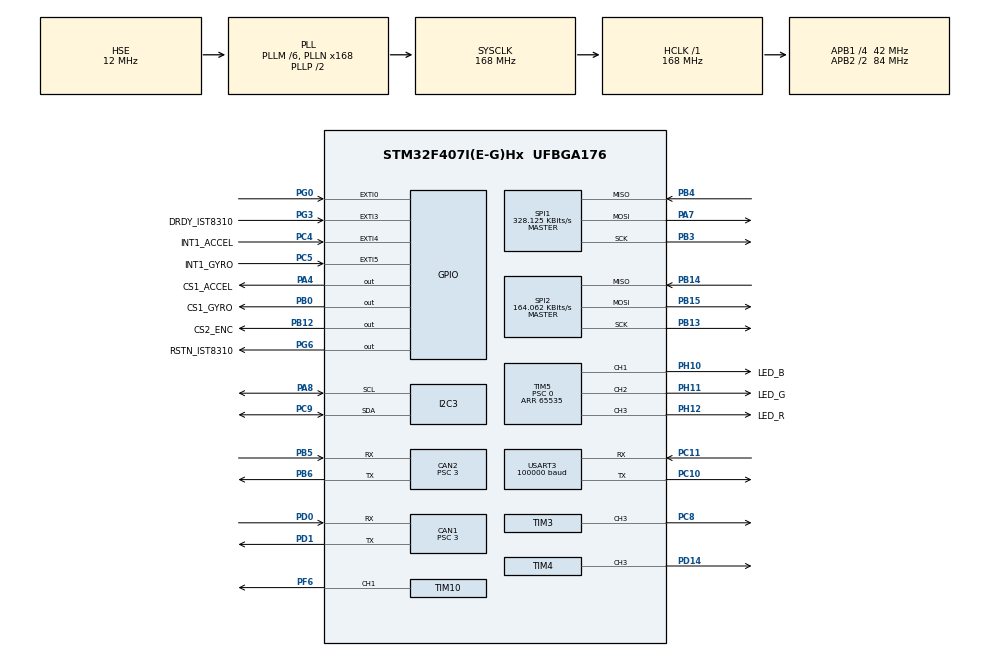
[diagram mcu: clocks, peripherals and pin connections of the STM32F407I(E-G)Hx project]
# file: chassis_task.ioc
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CAN1.BS1=CAN_BS1_10TQ
CAN1.BS2=CAN_BS2_3TQ
CAN1.CalculateBaudRate=1000000
CAN1.CalculateTimeQuantum=71.42857142857143
CAN1.Prescaler=3
CAN2.BS1=CAN_BS1_10TQ
CAN2.BS2=CAN_BS2_3TQ
CAN2.CalculateBaudRate=1000000
CAN2.CalculateTimeQuantum=71.42857142857143
CAN2.Prescaler=3
Dma.Request0=SPI1_RX
Dma.Request1=SPI1_TX
Dma.Request2=USART3_RX
Dma.Request3=SPI2_RX
Dma.Request4=SPI2_TX
Dma.SPI1_RX.0.Direction=DMA_PERIPH_TO_MEMORY
Dma.SPI1_RX.0.FIFOMode=DMA_FIFOMODE_DISABLE
Dma.SPI1_RX.0.Instance=DMA2_Stream2
Dma.SPI1_RX.0.MemDataAlignment=DMA_MDATAALIGN_BYTE
Dma.SPI1_RX.0.MemInc=DMA_MINC_ENABLE
Dma.SPI1_RX.0.Mode=DMA_NORMAL
Dma.SPI1_RX.0.PeriphDataAlignment=DMA_PDATAALIGN_BYTE
Dma.SPI1_RX.0.PeriphInc=DMA_PINC_DISABLE
Dma.SPI1_RX.0.Priority=DMA_PRIORITY_VERY_HIGH
Dma.SPI1_TX.1.Direction=DMA_MEMORY_TO_PERIPH
Dma.SPI1_TX.1.FIFOMode=DMA_FIFOMODE_DISABLE
Dma.SPI1_TX.1.Instance=DMA2_Stream3
Dma.SPI1_TX.1.MemDataAlignment=DMA_MDATAALIGN_BYTE
Dma.SPI1_TX.1.MemInc=DMA_MINC_ENABLE
Dma.SPI1_TX.1.Mode=DMA_NORMAL
Dma.SPI1_TX.1.PeriphDataAlignment=DMA_PDATAALIGN_BYTE
Dma.SPI1_TX.1.PeriphInc=DMA_PINC_DISABLE
Dma.SPI1_TX.1.Priority=DMA_PRIORITY_HIGH
Dma.SPI2_RX.3.Direction=DMA_PERIPH_TO_MEMORY
Dma.SPI2_RX.3.FIFOMode=DMA_FIFOMODE_DISABLE
Dma.SPI2_RX.3.Instance=DMA1_Stream3
Dma.SPI2_RX.3.MemDataAlignment=DMA_MDATAALIGN_BYTE
Dma.SPI2_RX.3.MemInc=DMA_MINC_ENABLE
Dma.SPI2_RX.3.Mode=DMA_NORMAL
Dma.SPI2_RX.3.PeriphDataAlignment=DMA_PDATAALIGN_BYTE
Dma.SPI2_RX.3.PeriphInc=DMA_PINC_DISABLE
Dma.SPI2_RX.3.Priority=DMA_PRIORITY_VERY_HIGH
Dma.SPI2_TX.4.Direction=DMA_MEMORY_TO_PERIPH
Dma.SPI2_TX.4.FIFOMode=DMA_FIFOMODE_DISABLE
Dma.SPI2_TX.4.Instance=DMA1_Stream4
Dma.SPI2_TX.4.MemDataAlignment=DMA_MDATAALIGN_BYTE
Dma.SPI2_TX.4.MemInc=DMA_MINC_ENABLE
Dma.SPI2_TX.4.Mode=DMA_NORMAL
Dma.SPI2_TX.4.PeriphDataAlignment=DMA_PDATAALIGN_BYTE
Dma.SPI2_TX.4.PeriphInc=DMA_PINC_DISABLE
Dma.SPI2_TX.4.Priority=DMA_PRIORITY_HIGH
Dma.USART3_RX.2.Direction=DMA_PERIPH_TO_MEMORY
Dma.USART3_RX.2.FIFOMode=DMA_FIFOMODE_DISABLE
Dma.USART3_RX.2.Instance=DMA1_Stream1
Dma.USART3_RX.2.MemDataAlignment=DMA_MDATAALIGN_BYTE
Dma.USART3_RX.2.MemInc=DMA_MINC_ENABLE
Dma.USART3_RX.2.Mode=DMA_NORMAL
Dma.USART3_RX.2.PeriphDataAlignment=DMA_PDATAALIGN_BYTE
Dma.USART3_RX.2.PeriphInc=DMA_PINC_DISABLE
Dma.USART3_RX.2.Priority=DMA_PRIORITY_HIGH
FREERTOS.INCLUDE_eTaskGetState=1
FREERTOS.INCLUDE_pcTaskGetTaskName=1
FREERTOS.INCLUDE_uxTaskGetStackHighWaterMark=1
FREERTOS.INCLUDE_vTaskCleanUpResources=1
FREERTOS.INCLUDE_vTaskDelayUntil=1
FREERTOS.INCLUDE_xEventGroupSetBitFromISR=1
FREERTOS.INCLUDE_xQueueGetMutexHolder=1
FREERTOS.INCLUDE_xSemaphoreGetMutexHolder=1
FREERTOS.INCLUDE_xTaskAbortDelay=1
FREERTOS.INCLUDE_xTaskGetCurrentTaskHandle=1
FREERTOS.INCLUDE_xTaskGetHandle=1
FREERTOS.INCLUDE_xTimerPendFunctionCall=1
FREERTOS.Tasks01=test,24,128,test_task,As weak,NULL,Dynamic,NULL,NULL
FREERTOS.configTOTAL_HEAP_SIZE=24576
I2C3.I2C_Mode=I2C_Fast
Mcu.Family=STM32F4
Mcu.Name=STM32F407I(E-G)Hx
Mcu.Package=UFBGA176
NVIC.CAN1_RX0_IRQn=true\:6\:0\:true\:false\:true\:false\:true\:true\:true
NVIC.CAN2_RX0_IRQn=true\:6\:0\:true\:false\:true\:false\:true\:true\:true
NVIC.DMA1_Stream1_IRQn=true\:5\:0\:true\:false\:false\:false\:false\:false\:true
NVIC.DMA1_Stream3_IRQn=true\:5\:0\:false\:false\:true\:true\:false\:true\:true
NVIC.DMA1_Stream4_IRQn=true\:5\:0\:false\:false\:true\:true\:false\:true\:true
NVIC.DMA2_Stream2_IRQn=true\:5\:0\:true\:false\:false\:false\:false\:true\:true
NVIC.DMA2_Stream3_IRQn=true\:5\:0\:true\:false\:false\:false\:false\:true\:true
NVIC.EXTI0_IRQn=true\:6\:0\:true\:false\:true\:false\:true\:true\:true
NVIC.EXTI3_IRQn=true\:5\:0\:true\:false\:true\:false\:true\:true\:true
NVIC.EXTI4_IRQn=true\:5\:0\:true\:false\:true\:false\:true\:true\:true
NVIC.EXTI9_5_IRQn=true\:5\:0\:true\:false\:true\:false\:true\:true\:true
NVIC.PriorityGroup=NVIC_PRIORITYGROUP_4
NVIC.USART3_IRQn=true\:4\:0\:true\:false\:false\:false\:true\:true\:true
PA13.Mode=Serial_Wire
PA13.Signal=SYS_JTMS-SWDIO
PA14.Mode=Serial_Wire
PA14.Signal=SYS_JTCK-SWCLK
PA4.GPIO_Label=CS1_ACCEL
PA4.GPIO_PuPd=GPIO_PULLUP
PA4.GPIO_Speed=GPIO_SPEED_FREQ_HIGH
PA4.PinState=GPIO_PIN_SET
PA4.Signal=GPIO_Output
PA7.GPIO_PuPd=GPIO_PULLUP
PA7.Mode=Full_Duplex_Master
PA7.Signal=SPI1_MOSI
PA8.GPIO_Pu=GPIO_PULLUP
PA8.Mode=I2C
PA8.Signal=I2C3_SCL
PB0.GPIO_Label=CS1_GYRO
PB0.GPIO_PuPd=GPIO_PULLUP
PB0.GPIO_Speed=GPIO_SPEED_FREQ_HIGH
PB0.PinState=GPIO_PIN_SET
PB0.Signal=GPIO_Output
PB12.GPIO_Label=CS2_ENC
PB12.GPIO_ModeDefaultOutputPP=GPIO_MODE_OUTPUT_PP
PB12.GPIO_PuPd=GPIO_PULLUP
PB12.GPIO_Speed=GPIO_SPEED_FREQ_HIGH
PB12.PinState=GPIO_PIN_SET
PB12.Signal=GPIO_Output
PB13.Mode=Full_Duplex_Master
PB13.Signal=SPI2_SCK
PB14.Mode=Full_Duplex_Master
PB14.Signal=SPI2_MISO
PB15.Mode=Full_Duplex_Master
PB15.Signal=SPI2_MOSI
PB3.GPIO_PuPd=GPIO_PULLUP
PB3.Mode=Full_Duplex_Master
PB3.Signal=SPI1_SCK
PB4.GPIO_PuPd=GPIO_PULLUP
PB4.Mode=Full_Duplex_Master
PB4.Signal=SPI1_MISO
PB5.Mode=CAN_Activate
PB5.Signal=CAN2_RX
PB6.Mode=CAN_Activate
PB6.Signal=CAN2_TX
PC10.Mode=Asynchronous
PC10.Signal=USART3_TX
PC11.Mode=Asynchronous
PC11.Signal=USART3_RX
PC4.GPIO_Label=INT1_ACCEL
PC4.GPIO_ModeDefaultEXTI=GPIO_MODE_IT_FALLING
PC4.GPIO_PuPd=GPIO_PULLUP
PC4.Signal=GPXTI4
PC5.GPIO_Label=INT1_GYRO
PC5.GPIO_ModeDefaultEXTI=GPIO_MODE_IT_FALLING
PC5.GPIO_PuPd=GPIO_PULLUP
PC5.Signal=GPXTI5
PC8.GPIO_PuPd=GPIO_PULLUP
PC8.GPIO_Speed=GPIO_SPEED_FREQ_HIGH
PC8.Signal=S_TIM3_CH3
PC9.GPIO_Pu=GPIO_PULLUP
PC9.Mode=I2C
PC9.Signal=I2C3_SDA
PD0.Mode=CAN_Activate
PD0.Signal=CAN1_RX
PD1.Mode=CAN_Activate
PD1.Signal=CAN1_TX
PD14.GPIO_PuPd=GPIO_PULLUP
PD14.GPIO_Speed=GPIO_SPEED_FREQ_HIGH
PD14.Signal=S_TIM4_CH3
PF6.GPIO_PuPd=GPIO_PULLUP
PF6.GPIO_Speed=GPIO_SPEED_FREQ_HIGH
PF6.Signal=S_TIM10_CH1
PG0.GPIO_ModeDefaultEXTI=GPIO_MODE_IT_FALLING
PG0.GPIO_PuPd=GPIO_PULLUP
PG0.Signal=GPXTI0
PG3.GPIO_Label=DRDY_IST8310
PG3.GPIO_ModeDefaultEXTI=GPIO_MODE_IT_FALLING
PG3.GPIO_PuPd=GPIO_PULLUP
PG3.Signal=GPXTI3
PG6.GPIO_Label=RSTN_IST8310
PG6.GPIO_PuPd=GPIO_PULLUP
PG6.GPIO_Speed=GPIO_SPEED_FREQ_MEDIUM
PG6.PinState=GPIO_PIN_SET
PG6.Signal=GPIO_Output
PH0-OSC_IN.Mode=HSE-External-Oscillator
PH0-OSC_IN.Signal=RCC_OSC_IN
PH1-OSC_OUT.Mode=HSE-External-Oscillator
PH1-OSC_OUT.Signal=RCC_OSC_OUT
PH10.GPIO_Label=LED_B
PH10.GPIO_PuPd=GPIO_PULLUP
PH10.GPIO_Speed=GPIO_SPEED_FREQ_HIGH
PH10.Signal=S_TIM5_CH1
PH11.GPIO_Label=LED_G
PH11.GPIO_PuPd=GPIO_PULLUP
PH11.GPIO_Speed=GPIO_SPEED_FREQ_HIGH
PH11.Signal=S_TIM5_CH2
PH12.GPIO_Label=LED_R
PH12.GPIO_PuPd=GPIO_PULLUP
PH12.GPIO_Speed=GPIO_SPEED_FREQ_HIGH
PH12.Signal=S_TIM5_CH3
ProjectManager.HeapSize=0x2000
ProjectManager.StackSize=0x2000
ProjectManager.TargetToolchain=MDK-ARM V5.32
RCC.48MHZClocksFreq_Value=48000000
RCC.AHBFreq_Value=168000000
RCC.APB1CLKDivider=RCC_HCLK_DIV4
RCC.APB1Freq_Value=42000000
RCC.APB1TimFreq_Value=84000000
RCC.APB2CLKDivider=RCC_HCLK_DIV2
RCC.APB2Freq_Value=84000000
RCC.APB2TimFreq_Value=168000000
RCC.CortexFreq_Value=168000000
RCC.HCLKFreq_Value=168000000
RCC.HSE_VALUE=12000000
RCC.HSI_VALUE=16000000
RCC.LSE_VALUE=32768
RCC.PLLM=6
RCC.PLLN=168
RCC.PLLQ=7
RCC.PLLSourceVirtual=RCC_PLLSOURCE_HSE
RCC.RCC_RTC_Clock_SourceVirtual=RCC_RTCCLKSOURCE_HSE_DIV30
RCC.RCC_RTC_Clock_Source_FROM_HSE=RCC_RTCCLKSOURCE_HSE_DIV30
RCC.SYSCLKFreq_VALUE=168000000
RCC.SYSCLKSource=RCC_SYSCLKSOURCE_PLLCLK
RCC.VCOOutputFreq_Value=336000000
RTC.AsynchPrediv=124
RTC.SynchPrediv=3199
SH.S_TIM10_CH1.0=TIM10_CH1,PWM Generation1 CH1
SH.S_TIM3_CH3.0=TIM3_CH3,PWM Generation3 CH3
SH.S_TIM4_CH3.0=TIM4_CH3,PWM Generation3 CH3
SH.S_TIM5_CH1.0=TIM5_CH1,PWM Generation1 CH1
SH.S_TIM5_CH2.0=TIM5_CH2,PWM Generation2 CH2
SH.S_TIM5_CH3.0=TIM5_CH3,PWM Generation3 CH3
SPI1.BaudRatePrescaler=SPI_BAUDRATEPRESCALER_256
SPI1.CLKPhase=SPI_PHASE_2EDGE
SPI1.CLKPolarity=SPI_POLARITY_HIGH
SPI1.CalculateBaudRate=328.125 KBits/s
SPI1.Direction=SPI_DIRECTION_2LINES
SPI1.Mode=SPI_MODE_MASTER
SPI1.VirtualType=VM_MASTER
SPI2.BaudRatePrescaler=SPI_BAUDRATEPRESCALER_256
SPI2.CLKPhase=SPI_PHASE_2EDGE
SPI2.CLKPolarity=SPI_POLARITY_HIGH
SPI2.CalculateBaudRate=164.062 KBits/s
SPI2.Direction=SPI_DIRECTION_2LINES
SPI2.Mode=SPI_MODE_MASTER
SPI2.VirtualType=VM_MASTER
TIM10.Channel=TIM_CHANNEL_1
TIM10.Period=4999
TIM3.Channel-PWM\ Generation3\ CH3=TIM_CHANNEL_3
TIM3.Period=8399
TIM4.Channel-PWM\ Generation3\ CH3=TIM_CHANNEL_3
TIM4.Period=65535
TIM4.Prescaler=167
TIM5.Channel-PWM\ Generation1\ CH1=TIM_CHANNEL_1
TIM5.Channel-PWM\ Generation2\ CH2=TIM_CHANNEL_2
TIM5.Channel-PWM\ Generation3\ CH3=TIM_CHANNEL_3
TIM5.Period=65535
TIM5.Prescaler=0
TIM8.Period=19999
TIM8.Prescaler=167
USART3.BaudRate=100000
USART3.Parity=PARITY_EVEN
USART3.VirtualMode=VM_ASYNC
VP_FREERTOS_VS_CMSIS_V1.Mode=CMSIS_V1
VP_RTC_VS_RTC_Activate.Mode=RTC_Enabled
VP_TIM10_VS_ClockSourceINT.Mode=Enable_Timer
VP_TIM3_VS_ClockSourceINT.Mode=Internal
VP_TIM4_VS_ClockSourceINT.Mode=Internal
VP_TIM5_VS_ClockSourceINT.Mode=Internal
VP_TIM8_VS_ClockSourceINT.Mode=Internal
board=custom

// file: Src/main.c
/* USER CODE BEGIN Header */
/**
  ******************************************************************************
  * @file           : main.c
  * @brief          : Main program body
  ******************************************************************************
  * @attention
  *
  * <h2><center>&copy; Copyright (c) 2019 STMicroelectronics.
  * All rights reserved.</center></h2>
  *
  * This software component is licensed by ST under Ultimate Liberty license
  * SLA0044, the "License"; You may not use this file except in compliance with
  * the License. You may obtain a copy of the License at:
  *                             www.st.com/SLA0044
  *
  ******************************************************************************
  */
/* USER CODE END Header */
#include "main.h"
#include "cmsis_os.h"
#include "can.h"
#include "dma.h"
#include "i2c.h"
#include "rtc.h"
#include "spi.h"
#include "tim.h"
#include "usart.h"
#include "gpio.h"

/* USER CODE BEGIN Includes */
#include "bsp_can.h"
#include "bsp_delay.h"
#include "remote_control.h"
#include "CAN_receive.h"

#include "calibrate_task.h"
#include "chassis_task.h"
#include "detect_task.h"
#include "INS_task.h"
#include "led_flow_task.h"
#include "CAN_receive.h"
/* USER CODE END Includes */

/* USER CODE BEGIN PTD */
#include "Encoder.h"
/* USER CODE END PTD */

/* USER CODE BEGIN PV */
fp32 gyro[3], accel[3], temp;
//float fbAngle=0;
uint16_t enc_rawdata=0;

/* USER CODE END PV */

void SystemClock_Config(void);
void MX_FREERTOS_Init(void);

int main(void)
{

  /* MCU Configuration--------------------------------------------------------*/

  /* Reset of all peripherals, Initializes the Flash interface and the Systick. */
  HAL_Init();

  /* Configure the system clock */
  SystemClock_Config();

  /* Initialize all configured peripherals */
  MX_GPIO_Init();
  MX_DMA_Init();
  MX_CAN1_Init();
  MX_CAN2_Init();
  MX_SPI1_Init();
  MX_TIM4_Init();
  MX_TIM5_Init();
  MX_USART3_UART_Init();
  MX_TIM8_Init();
  MX_I2C3_Init();
  MX_RTC_Init();
  MX_TIM3_Init();
  MX_TIM10_Init();
  MX_SPI2_Init();
  /* USER CODE BEGIN 2 */
    can_filter_init();
  delay_init();
  //  cali_param_init();
  remote_control_init();

  /* USER CODE END 2 */

  /* Call init function for freertos objects (in freertos.c) */
  MX_FREERTOS_Init();

  /* Start scheduler */
  osKernelStart();

  /* We should never get here as control is now taken by the scheduler */
  /* Infinite loop */
  while (1)
  {
//		getEncoder(&fbAngle);
    /* USER CODE BEGIN 3 */
		HAL_Delay(50);
  }
  /* USER CODE END 3 */
}

void SystemClock_Config(void)
{
  RCC_OscInitTypeDef RCC_OscInitStruct = {0};
  RCC_ClkInitTypeDef RCC_ClkInitStruct = {0};

  /** Configure the main internal regulator output voltage
  */
  __HAL_RCC_PWR_CLK_ENABLE();
  __HAL_PWR_VOLTAGESCALING_CONFIG(PWR_REGULATOR_VOLTAGE_SCALE1);

  /** Initializes the RCC Oscillators according to the specified parameters
  * in the RCC_OscInitTypeDef structure.
  */
  RCC_OscInitStruct.OscillatorType = RCC_OSCILLATORTYPE_HSE;
  RCC_OscInitStruct.HSEState = RCC_HSE_ON;
  RCC_OscInitStruct.PLL.PLLState = RCC_PLL_ON;
  RCC_OscInitStruct.PLL.PLLSource = RCC_PLLSOURCE_HSE;
  RCC_OscInitStruct.PLL.PLLM = 6;
  RCC_OscInitStruct.PLL.PLLN = 168;
  RCC_OscInitStruct.PLL.PLLP = RCC_PLLP_DIV2;
  RCC_OscInitStruct.PLL.PLLQ = 7;
  if (HAL_RCC_OscConfig(&RCC_OscInitStruct) != HAL_OK)
  {
    Error_Handler();
  }

  /** Initializes the CPU, AHB and APB buses clocks
  */
  RCC_ClkInitStruct.ClockType = RCC_CLOCKTYPE_HCLK|RCC_CLOCKTYPE_SYSCLK
                              |RCC_CLOCKTYPE_PCLK1|RCC_CLOCKTYPE_PCLK2;
  RCC_ClkInitStruct.SYSCLKSource = RCC_SYSCLKSOURCE_PLLCLK;
  RCC_ClkInitStruct.AHBCLKDivider = RCC_SYSCLK_DIV1;
  RCC_ClkInitStruct.APB1CLKDivider = RCC_HCLK_DIV4;
  RCC_ClkInitStruct.APB2CLKDivider = RCC_HCLK_DIV2;

  if (HAL_RCC_ClockConfig(&RCC_ClkInitStruct, FLASH_LATENCY_5) != HAL_OK)
  {
    Error_Handler();
  }
}

void Error_Handler(void)
{
}

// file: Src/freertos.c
/* USER CODE BEGIN Header */
/**
  ******************************************************************************
  * File Name          : freertos.c
  * Description        : Code for freertos applications
  ******************************************************************************
  * @attention
  *
  * <h2><center>&copy; Copyright (c) 2019 STMicroelectronics.
  * All rights reserved.</center></h2>
  *
  * This software component is licensed by ST under Ultimate Liberty license
  * SLA0044, the "License"; You may not use this file except in compliance with
  * the License. You may obtain a copy of the License at:
  *                             www.st.com/SLA0044
  *
  ******************************************************************************
  */
/* USER CODE END Header */

#include "FreeRTOS.h"
#include "task.h"
#include "main.h"
#include "cmsis_os.h"

/* USER CODE BEGIN Includes */

#include "calibrate_task.h"
#include "chassis_task.h"
#include "detect_task.h"
#include "INS_task.h"
#include "led_flow_task.h"
#include "encoder_read_task.h"

/* USER CODE END Includes */

/* USER CODE BEGIN PTD */

osThreadId calibrate_tast_handle;
osThreadId chassisTaskHandle;
osThreadId detect_handle;
osThreadId imuTaskHandle;
osThreadId led_RGB_flow_handle;
osThreadId Enchandle;

/* USER CODE END PTD */

osThreadId testHandle;

void test_task(void const * argument);

void MX_FREERTOS_Init(void); /* (MISRA C 2004 rule 8.1) */

/* GetIdleTaskMemory prototype (linked to static allocation support) */
void vApplicationGetIdleTaskMemory( StaticTask_t **ppxIdleTaskTCBBuffer, StackType_t **ppxIdleTaskStackBuffer, uint32_t *pulIdleTaskStackSize );

/* GetTimerTaskMemory prototype (linked to static allocation support) */
void vApplicationGetTimerTaskMemory( StaticTask_t **ppxTimerTaskTCBBuffer, StackType_t **ppxTimerTaskStackBuffer, uint32_t *pulTimerTaskStackSize );

/* USER CODE BEGIN GET_IDLE_TASK_MEMORY */
static StaticTask_t xIdleTaskTCBBuffer;
static StackType_t xIdleStack[configMINIMAL_STACK_SIZE];

void vApplicationGetIdleTaskMemory( StaticTask_t **ppxIdleTaskTCBBuffer, StackType_t **ppxIdleTaskStackBuffer, uint32_t *pulIdleTaskStackSize )
{
  *ppxIdleTaskTCBBuffer = &xIdleTaskTCBBuffer;
  *ppxIdleTaskStackBuffer = &xIdleStack[0];
  *pulIdleTaskStackSize = configMINIMAL_STACK_SIZE;
  /* place for user code */
}
/* USER CODE END GET_IDLE_TASK_MEMORY */

/* USER CODE BEGIN GET_TIMER_TASK_MEMORY */
static StaticTask_t xTimerTaskTCBBuffer;
static StackType_t xTimerStack[configTIMER_TASK_STACK_DEPTH];

void vApplicationGetTimerTaskMemory( StaticTask_t **ppxTimerTaskTCBBuffer, StackType_t **ppxTimerTaskStackBuffer, uint32_t *pulTimerTaskStackSize )
{
  *ppxTimerTaskTCBBuffer = &xTimerTaskTCBBuffer;
  *ppxTimerTaskStackBuffer = &xTimerStack[0];
  *pulTimerTaskStackSize = configTIMER_TASK_STACK_DEPTH;
  /* place for user code */
}
/* USER CODE END GET_TIMER_TASK_MEMORY */

void MX_FREERTOS_Init(void) {

  /* Create the thread(s) */
  /* definition and creation of test */
  osThreadDef(test, test_task, osPriorityNormal, 0, 128);
  testHandle = osThreadCreate(osThread(test), NULL);

  /* USER CODE BEGIN RTOS_THREADS */
  /* add threads, ... */
    osThreadDef(cali, calibrate_task, osPriorityNormal, 0, 512);
    calibrate_tast_handle = osThreadCreate(osThread(cali), NULL);

    osThreadDef(ChassisTask, chassis_task, osPriorityAboveNormal, 0, 512);
    chassisTaskHandle = osThreadCreate(osThread(ChassisTask), NULL);

    osThreadDef(DETECT, detect_task, osPriorityNormal, 0, 256);
    detect_handle = osThreadCreate(osThread(DETECT), NULL);

    osThreadDef(imuTask, INS_task, osPriorityRealtime, 0, 1024);
    imuTaskHandle = osThreadCreate(osThread(imuTask), NULL);

    osThreadDef(led, led_RGB_flow_task, osPriorityNormal, 0, 256);
    led_RGB_flow_handle = osThreadCreate(osThread(led), NULL);

    osThreadDef(EncTask, encoder_read_task, osPriorityNormal, 0, 256);
    Enchandle = osThreadCreate(osThread(EncTask), NULL);

  /* USER CODE END RTOS_THREADS */

}

__weak void test_task(void const * argument)
{
  for(;;)
  {
    osDelay(1);
  }
}
